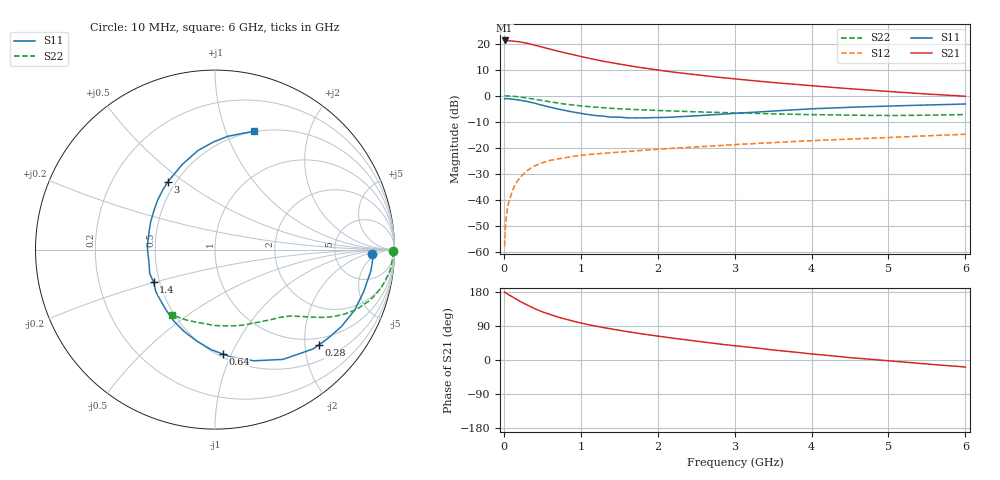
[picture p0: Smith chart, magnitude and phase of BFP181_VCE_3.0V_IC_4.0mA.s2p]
! Infineon Technologies  Discrete & RF Semiconductors
! BFP181
! VCE = 3.0 V,  IC =  4.0 mA
! Common Emitter S-Parameters:  Jan 2016
# GHz  S  MA  R  50
!  f  S11  S21  S12  S22
! GHz  MAG  ANG  MAG  ANG  MAG  ANG  MAG  ANG
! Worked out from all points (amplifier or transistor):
!   210 points, 10 MHz to 6 GHz, reference 50 ohm
!   highest |S21| = 21.2 dB at 10 MHz (marker M1)
!   |S21| within 3 dB of that: start of sweep to 561.7 MHz
!   unconditionally stable (mu >= 1): 1.861 GHz to end of sweep
!   at 185 MHz: K = 0.15, MSG = 26.6 dB, |S12| = -32.4 dB
!   at 1.52 GHz: K = 0.89, MSG = 16.8 dB, |S12| = -21.6 dB
!   at 6 GHz: K = 1.07, MAG = 5.7 dB, |S12| = -14.8 dB
!   S11 on the Smith chart (normalised r, x): 10 MHz: 14, -3; 280 MHz: 0.83, -2.31; 640 MHz: 0.53, -0.93; 1.4 GHz: 0.46, -0.20; 3 GHz: 0.45, +0.43; 6 GHz: 0.50, +1.26
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0.01  0.8746 -1.7  11.46 178.8  0.0013 77.7  0.9928 -0.6
0.03  0.879 -4.7  11.42 176.5  0.0044 86.2  0.9916 -2.1
0.065  0.8702 -10.0  11.33 172.1  0.0091 83.5  0.9866 -4.5
0.15  0.848 -23.4  11.01 161.8  0.0201 76.7  0.9658 -10.1
0.2  0.8252 -31.1  10.81 156.0  0.0257 72.6  0.9484 -13.2
0.28  0.7855 -42.5  10.28 147.6  0.0341 67.2  0.9115 -17.6
0.4  0.7192 -58.3  9.364 135.6  0.0451 60.3  0.8538 -23.1
0.5  0.6563 -70.7  8.533 127.1  0.0517 54.3  0.8043 -26.6
0.64  0.5829 -85.8  7.573 117.4  0.0588 49.2  0.7437 -30.3
0.7  0.5578 -92.2  7.151 113.4  0.0612 47.4  0.7202 -31.6
0.8  0.5187 -101.6  6.613 107.6  0.0651 45.0  0.6877 -33.3
1.02  0.4539 -121.6  5.533 96.7  0.0717 40.9  0.6333 -36.2
1.2  0.415 -137.0  4.879 89.2  0.0767 38.4  0.6007 -38.3
1.4  0.387 -152.2  4.285 81.9  0.0806 37.2  0.5727 -40.4
1.7  0.3734 -172.9  3.606 71.9  0.0872 35.7  0.5426 -43.5
2.02  0.379 167.0  3.075 62.6  0.0941 34.1  0.5192 -47.0
2.58  0.4193 140.3  2.434 47.9  0.1058 32.4  0.4862 -54.5
3  0.46 124.9  2.1 37.6  0.1151 30.7  0.4658 -60.8
3.1  0.4675 121.9  2.032 35.6  0.1173 30.2  0.4617 -62.5
4.1  0.5674 97.8  1.512 14.2  0.1392 25.1  0.4303 -81.2
5.1  0.6396 82.4  1.177 -3.9  0.16 19.9  0.4171 -102.9
6  0.6936 71.8  0.975 -18.6  0.182 14.4  0.4354 -123.1
